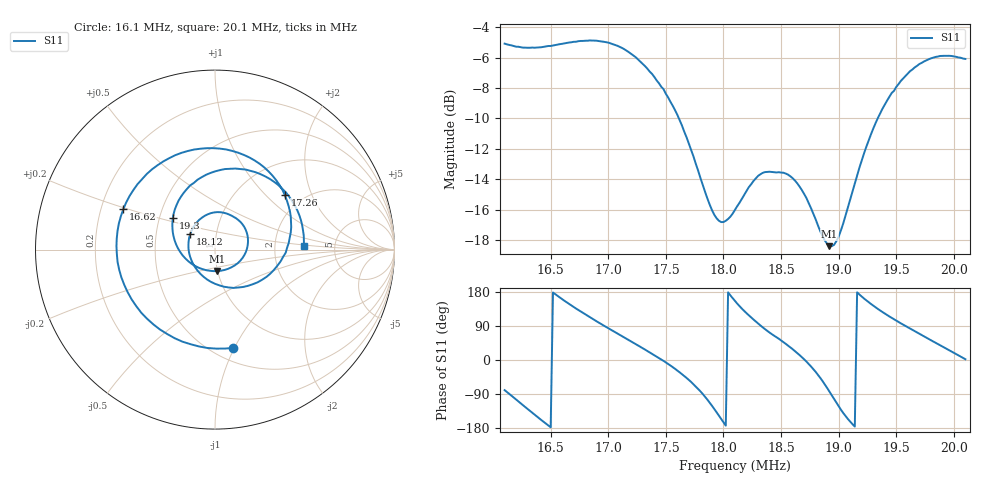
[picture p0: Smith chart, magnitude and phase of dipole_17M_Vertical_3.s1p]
# MHz S RI R 50
! S-Parameters data
! Freq  reS11  imS11
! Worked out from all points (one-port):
!   201 points, 16.1 MHz to 20.1 MHz, reference 50 ohm
!   lowest |S11| = -18.4 dB at 18.92 MHz (marker M1), VSWR 1.27, Z = 49.9 - j12.1 ohm
!   |S11| at or under -10 dB: 17.61 MHz to 19.34 MHz (1.726 MHz wide, 9.34 % of centre)
!   S11 on the Smith chart (normalised r, x): 16.1 MHz: 0.62, -0.99; 16.62 MHz: 0.29, +0.19; 17.26 MHz: 1.62, +1.30; 18.12 MHz: 0.75, +0.13; 19.3 MHz: 0.59, +0.22; 20.1 MHz: 2.96, +0.14
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16.1  0.1012 -0.5479
16.24  -0.224 -0.494
16.38  -0.4642 -0.2778
16.48  -0.543 -0.0681
16.6  -0.5243 0.1864
16.62  -0.5108 0.2258
16.74  -0.3796 0.4219
16.86  -0.1867 0.5391
16.98  0.0254 0.5628
17.1  0.2202 0.4971
17.26  0.3889 0.304
17.44  0.4108 0.0378
17.6  0.2867 -0.1522
17.8  0.0254 -0.1997
17.96  -0.1217 -0.0801
18.1  -0.1441 0.0653
18.12  -0.1389 0.0849
18.34  0.0132 0.2089
18.6  0.1765 0.0963
18.74  0.1635 -0.0305
18.92  0.0135 -0.1194
19.1  -0.1635 -0.051
19.3  -0.2353 0.1741
19.44  -0.1566 0.3376
19.6  0.0299 0.4435
19.82  0.3283 0.3783
19.96  0.4585 0.2189
20.1  0.4959 0.0176
